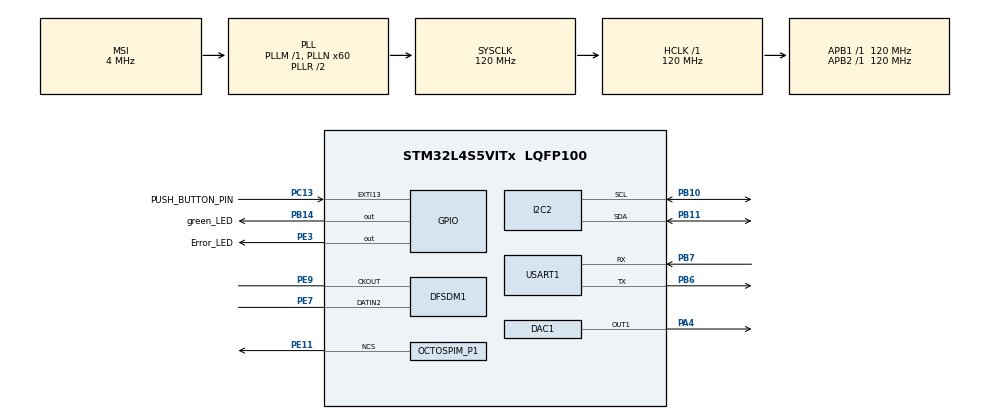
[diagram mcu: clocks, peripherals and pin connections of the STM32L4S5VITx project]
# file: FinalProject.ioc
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DAC1.DAC_Trigger-DAC_OUT1_ExtAndInt=DAC_TRIGGER_T2_TRGO
DFSDM1.Divider=50
DFSDM1.DmaMode_reg_FIL0=ENABLE
DFSDM1.FastMode_reg_FIL0=ENABLE
DFSDM1.Filter_regChannel_FIL0=DFSDM_CHANNEL_2
DFSDM1.Fosr_FIL0=150
DFSDM1.SincOrder_FIL0=DFSDM_FILTER_SINC3_ORDER
Dma.DAC1_CH1.1.Direction=DMA_MEMORY_TO_PERIPH
Dma.DAC1_CH1.1.EventEnable=DISABLE
Dma.DAC1_CH1.1.Instance=DMA1_Channel3
Dma.DAC1_CH1.1.MemDataAlignment=DMA_MDATAALIGN_WORD
Dma.DAC1_CH1.1.MemInc=DMA_MINC_ENABLE
Dma.DAC1_CH1.1.Mode=DMA_CIRCULAR
Dma.DAC1_CH1.1.PeriphDataAlignment=DMA_PDATAALIGN_HALFWORD
Dma.DAC1_CH1.1.PeriphInc=DMA_PINC_DISABLE
Dma.DAC1_CH1.1.Polarity=HAL_DMAMUX_REQUEST_GEN_RISING
Dma.DAC1_CH1.1.Priority=DMA_PRIORITY_MEDIUM
Dma.DAC1_CH1.1.RequestNumber=1
Dma.DAC1_CH1.1.SignalID=NONE
Dma.DAC1_CH1.1.SyncEnable=DISABLE
Dma.DAC1_CH1.1.SyncPolarity=HAL_DMAMUX_SYNC_NO_EVENT
Dma.DAC1_CH1.1.SyncRequestNumber=1
Dma.DAC1_CH1.1.SyncSignalID=NONE
Dma.DFSDM1_FLT0.0.Direction=DMA_PERIPH_TO_MEMORY
Dma.DFSDM1_FLT0.0.EventEnable=DISABLE
Dma.DFSDM1_FLT0.0.Instance=DMA1_Channel2
Dma.DFSDM1_FLT0.0.MemDataAlignment=DMA_MDATAALIGN_WORD
Dma.DFSDM1_FLT0.0.MemInc=DMA_MINC_ENABLE
Dma.DFSDM1_FLT0.0.Mode=DMA_CIRCULAR
Dma.DFSDM1_FLT0.0.PeriphDataAlignment=DMA_PDATAALIGN_WORD
Dma.DFSDM1_FLT0.0.PeriphInc=DMA_PINC_DISABLE
Dma.DFSDM1_FLT0.0.Polarity=HAL_DMAMUX_REQUEST_GEN_RISING
Dma.DFSDM1_FLT0.0.Priority=DMA_PRIORITY_VERY_HIGH
Dma.DFSDM1_FLT0.0.RequestNumber=1
Dma.DFSDM1_FLT0.0.SignalID=NONE
Dma.DFSDM1_FLT0.0.SyncEnable=DISABLE
Dma.DFSDM1_FLT0.0.SyncPolarity=HAL_DMAMUX_SYNC_NO_EVENT
Dma.DFSDM1_FLT0.0.SyncRequestNumber=1
Dma.DFSDM1_FLT0.0.SyncSignalID=NONE
Dma.Request0=DFSDM1_FLT0
Dma.Request1=DAC1_CH1
FREERTOS.Tasks01=audioProcessing,0,512,AudioProcessingTask,Default,NULL,Dynamic,NULL,NULL;alarmTask,0,512,AlarmTask,Default,NULL,Dynamic,NULL,NULL;motionTask,0,256,MotionTask,Default,NULL,Dynamic,NULL,NULL
FREERTOS.configTOTAL_HEAP_SIZE=30000
FREERTOS.configUSE_NEWLIB_REENTRANT=1
I2C2.Timing=0x30A175AB
Mcu.Family=STM32L4
Mcu.Name=STM32L4S5VITx
Mcu.Package=LQFP100
NVIC.DMA1_Channel2_IRQn=true\:5\:0\:false\:false\:true\:true\:false\:true\:true
NVIC.DMA1_Channel3_IRQn=true\:5\:0\:false\:false\:true\:false\:false\:true\:true
NVIC.I2C2_ER_IRQn=true\:5\:0\:false\:false\:true\:true\:true\:true\:true
NVIC.I2C2_EV_IRQn=true\:5\:0\:false\:false\:true\:true\:true\:true\:true
NVIC.PriorityGroup=NVIC_PRIORITYGROUP_4
NVIC.TIM2_IRQn=true\:5\:0\:false\:false\:true\:true\:true\:true\:true
NVIC.TIM6_DAC_IRQn=true\:15\:0\:false\:false\:true\:false\:false\:true\:true
NVIC.TimeBase=TIM6_DAC_IRQn
NVIC.TimeBaseIP=TIM6
PA13\ (JTMS/SWDIO).Signal=SYS_JTMS-SWDIO
PA4.Signal=COMP_DAC11_group
PB10.Mode=I2C
PB10.Signal=I2C2_SCL
PB11.Mode=I2C
PB11.Signal=I2C2_SDA
PB14.GPIO_Label=green_LED
PB14.Signal=GPIO_Output
PB3\ (JTDO/TRACESWO).Signal=SYS_JTDO-SWO
PB6.Mode=Asynchronous
PB6.Signal=USART1_TX
PB7.Mode=Asynchronous
PB7.Signal=USART1_RX
PC13.GPIO_Label=PUSH_BUTTON_PIN
PC13.Signal=GPXTI13
PE10.Signal=OCTOSPIM_P1_CLK
PE11.Mode=OCTOSPI1_Port1_NCS
PE11.Signal=OCTOSPIM_P1_NCS
PE12.Signal=OCTOSPIM_P1_IO0
PE13.Signal=OCTOSPIM_P1_IO1
PE14.Signal=OCTOSPIM_P1_IO2
PE15.Signal=OCTOSPIM_P1_IO3
PE3.GPIO_Label=Error_LED
PE3.Signal=GPIO_Output
PE7.Signal=S_DATAIN2DFSDM1
PE9.Signal=S_CKOUTDFSDM1
ProjectManager.HeapSize=0x200
ProjectManager.StackSize=0x400
ProjectManager.TargetToolchain=STM32CubeIDE
RCC.ADCFreq_Value=48000000
RCC.AHBFreq_Value=120000000
RCC.APB1Freq_Value=120000000
RCC.APB1TimFreq_Value=120000000
RCC.APB2Freq_Value=120000000
RCC.APB2TimFreq_Value=120000000
RCC.CortexFreq_Value=120000000
RCC.HCLKFreq_Value=120000000
RCC.HSE_VALUE=8000000
RCC.HSI48_VALUE=48000000
RCC.HSI_VALUE=16000000
RCC.LSE_VALUE=32768
RCC.MSI_VALUE=4000000
RCC.PLLN=60
RCC.PLLSAI1N=24
RCC.SYSCLKFreq_VALUE=120000000
RCC.SYSCLKSource=RCC_SYSCLKSOURCE_PLLCLK
RCC.USBFreq_Value=48000000
RCC.VCOOutputFreq_Value=240000000
SH.COMP_DAC11_group.0=DAC1_OUT1,DAC_OUT1_ExtAndInt
SH.S_CKOUTDFSDM1.0=DFSDM1_CKOUT,CKOUT
SH.S_CKOUTDFSDM1.1=DFSDM1_CKOUT,PDM_SPI_input_from_ch2_and_internal_clock
SH.S_DATAIN2DFSDM1.0=DFSDM1_DATIN2,PDM_SPI_input_from_ch2_and_internal_clock
TIM2.Period=2999
TIM2.TIM_MasterOutputTrigger=TIM_TRGO_UPDATE
USART1.VirtualMode-Asynchronous=VM_ASYNC
VP_FREERTOS_VS_CMSIS_V1.Mode=CMSIS_V1
VP_OCTOSPI1_VS_quad.Mode=quad_mode
VP_RTC_VS_RTC_Activate.Mode=RTC_Enabled
VP_RTC_VS_RTC_WakeUp_intern.Mode=WakeUp
VP_SYS_VS_tim6.Mode=TIM6
VP_TIM2_VS_ClockSourceINT.Mode=Internal
board=B-L4S5I-IOT01A

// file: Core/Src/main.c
/* USER CODE BEGIN Header */
/**
  ******************************************************************************
  * @file           : main.c
  * @brief          : Main program body
  ******************************************************************************
  * @attention
  *
  * Copyright (c) 2025 STMicroelectronics.
  * All rights reserved.
  *
  * This software is licensed under terms that can be found in the LICENSE file
  * in the root directory of this software component.
  * If no LICENSE file comes with this software, it is provided AS-IS.
  *
  ******************************************************************************
  */
/* USER CODE END Header */
#include "main.h"
#include "cmsis_os.h"
#include "dac.h"
#include "dfsdm.h"
#include "dma.h"
#include "i2c.h"
#include "octospi.h"
#include "rtc.h"
#include "tim.h"
#include "usart.h"
#include "gpio.h"

/* USER CODE BEGIN Includes */
#include "stm32l4s5i_iot01_accelero.h"
#include "stm32l4s5i_iot01_qspi.h"
#include "stm32l4s5i_iot01.h"
#include "stm32l4xx_hal_conf.h"
#include "stm32l4xx_it.h"
#include "FreeRTOS.h"
#include "task.h"
#include "semphr.h"
#include <stdbool.h>
#include <stdio.h>
#include <string.h>
/* USER CODE END Includes */

void SystemClock_Config(void);
void MX_FREERTOS_Init(void);

int main(void)
{

  /* MCU Configuration--------------------------------------------------------*/

  /* Reset of all peripherals, Initializes the Flash interface and the Systick. */
  HAL_Init();

  /* Configure the system clock */
  SystemClock_Config();

  /* Initialize all configured peripherals */
  MX_GPIO_Init();
  MX_DMA_Init();
  MX_DFSDM1_Init();
  MX_I2C2_Init();
  MX_DAC1_Init();
  MX_TIM2_Init();
  MX_USART1_UART_Init();
  MX_OCTOSPI1_Init();
  MX_RTC_Init();

  /* Call init function for freertos objects (in cmsis_os2.c) */
  MX_FREERTOS_Init();

  /* Start scheduler */
  osKernelStart();

  /* We should never get here as control is now taken by the scheduler */

  /* Infinite loop */
  while (1)
  {

  }
}

void SystemClock_Config(void)
{
  RCC_OscInitTypeDef RCC_OscInitStruct = {0};
  RCC_ClkInitTypeDef RCC_ClkInitStruct = {0};

  /** Configure the main internal regulator output voltage
  */
  if (HAL_PWREx_ControlVoltageScaling(PWR_REGULATOR_VOLTAGE_SCALE1_BOOST) != HAL_OK)
  {
    Error_Handler();
  }

  /** Initializes the RCC Oscillators according to the specified parameters
  * in the RCC_OscInitTypeDef structure.
  */
  RCC_OscInitStruct.OscillatorType = RCC_OSCILLATORTYPE_LSI|RCC_OSCILLATORTYPE_MSI;
  RCC_OscInitStruct.LSIState = RCC_LSI_ON;
  RCC_OscInitStruct.MSIState = RCC_MSI_ON;
  RCC_OscInitStruct.MSICalibrationValue = 0;
  RCC_OscInitStruct.MSIClockRange = RCC_MSIRANGE_6;
  RCC_OscInitStruct.PLL.PLLState = RCC_PLL_ON;
  RCC_OscInitStruct.PLL.PLLSource = RCC_PLLSOURCE_MSI;
  RCC_OscInitStruct.PLL.PLLM = 1;
  RCC_OscInitStruct.PLL.PLLN = 60;
  RCC_OscInitStruct.PLL.PLLP = RCC_PLLP_DIV2;
  RCC_OscInitStruct.PLL.PLLQ = RCC_PLLQ_DIV2;
  RCC_OscInitStruct.PLL.PLLR = RCC_PLLR_DIV2;
  if (HAL_RCC_OscConfig(&RCC_OscInitStruct) != HAL_OK)
  {
    Error_Handler();
  }

  /** Initializes the CPU, AHB and APB buses clocks
  */
  RCC_ClkInitStruct.ClockType = RCC_CLOCKTYPE_HCLK|RCC_CLOCKTYPE_SYSCLK
                              |RCC_CLOCKTYPE_PCLK1|RCC_CLOCKTYPE_PCLK2;
  RCC_ClkInitStruct.SYSCLKSource = RCC_SYSCLKSOURCE_PLLCLK;
  RCC_ClkInitStruct.AHBCLKDivider = RCC_SYSCLK_DIV1;
  RCC_ClkInitStruct.APB1CLKDivider = RCC_HCLK_DIV1;
  RCC_ClkInitStruct.APB2CLKDivider = RCC_HCLK_DIV1;

  if (HAL_RCC_ClockConfig(&RCC_ClkInitStruct, FLASH_LATENCY_5) != HAL_OK)
  {
    Error_Handler();
  }
}

void HAL_TIM_PeriodElapsedCallback(TIM_HandleTypeDef *htim)
{
  if (htim->Instance == TIM6)
  {
    HAL_IncTick();
  }
}

void Error_Handler(void)
{
  __disable_irq();
  while (1)
  {
  }
}

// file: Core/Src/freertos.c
/* USER CODE BEGIN Header */
/* USER CODE END Header */

#include "FreeRTOS.h"
#include "task.h"
#include "main.h"
#include "cmsis_os.h"

/* USER CODE BEGIN Includes */
#define ARM_MATH_CM4
#include "dac.h"
#include "dfsdm.h"
#include "dma.h"
#include "i2c.h"
#include "octospi.h"
#include "rtc.h"
#include "tim.h"
#include "usart.h"
#include "gpio.h"
#include "stm32l4s5i_iot01_accelero.h"
#include "arm_math.h"
#include <stdbool.h>
#include <string.h>
#include <stdlib.h>
#include <stdarg.h>
#include <stdio.h>
#include <math.h>
/* USER CODE END Includes */

/* USER CODE BEGIN PTD */
typedef enum
{
  ALARM_EVENT_AUDIO = 0x01U,
  ALARM_EVENT_MOTION = 0x02U
} AlarmEventSource_t;

typedef struct
{
  AlarmEventSource_t source;
  uint32_t magnitude;
} AlarmEvent_t;
/* USER CODE END PTD */

/* USER CODE BEGIN PD */
#define AUDIO_FRAME_SIZE                    128U
#define AUDIO_DMA_BUFFER_SIZE               (AUDIO_FRAME_SIZE * 2U)
#define AUDIO_BUFFER_HALF_FLAG              (1UL << 0)
#define AUDIO_BUFFER_FULL_FLAG              (1UL << 1)
#define AUDIO_SAMPLE_SHIFT                  8U
#define ALARM_EVENT_QUEUE_LENGTH            4U
#define AUDIO_RETRIGGER_MS                  500U
#define AUDIO_SENSOR_STABILIZATION_MS       1500U
#define AUDIO_CALIBRATION_FRAMES            20U

#define ALARM_WAVEFORM_SAMPLES             10U
#define DAC_MAX                            4095U // 12-bit DAC
#define DAC_CENTER                         (DAC_MAX / 2U)
#define AMP                                (DAC_MAX / 2U) // Amplitude of the alarm waveform
#define MOTION_SAMPLE_PERIOD_MS            50U
#define MOTION_THRESHOLD                   4000U
/* USER CODE END PD */

/* USER CODE BEGIN Variables */
static StaticTask_t xIdleTaskTCBBuffer;
static StackType_t xIdleStack[configMINIMAL_STACK_SIZE];

static TaskHandle_t audioProcessingTaskNativeHandle = NULL;

static QueueHandle_t alarmEventQueue;
static StaticQueue_t alarmEventQueueStruct;
static uint8_t alarmEventQueueStorage[ALARM_EVENT_QUEUE_LENGTH * sizeof(AlarmEvent_t)];

static volatile uint32_t s_audioReadyMask = 0U;
static int32_t s_audioDmaBuffer[AUDIO_DMA_BUFFER_SIZE];
static uint16_t s_alarmWaveform[ALARM_WAVEFORM_SAMPLES];
static TickType_t s_lastAudioAlarmTick = 0;
static volatile bool s_alarmOutputActive = false;
static uint32_t s_audioThreshold = 20000;
static bool s_audioCalibrationDone = false;
static uint64_t s_audioCalibrationAccum = 0;
static uint32_t s_audioCalibrationCount = 0;
// static TickType_t s_audioStabilizeUntil = 0;

/* USER CODE END Variables */
osThreadId audioProcessingHandle;
osThreadId alarmTaskHandle;
osThreadId motionTaskHandle;

/* USER CODE BEGIN FunctionPrototypes */
static void DispatchAlarmEvent(AlarmEventSource_t source, uint32_t magnitude);
static void AnalyzeAudioFrame(const int32_t *frame, size_t length);
static uint32_t CalculateFrameEnergy(const int32_t *frame, size_t length);
static void InitAlarmWaveform(void);
static HAL_StatusTypeDef StartAlarmOutput(void);
static void StopAlarmOutput(void);
static void DebugPrint(const char *format, ...);
void vApplicationIdleHook(void);

static uint32_t frameEnergy = 0;
static size_t audio_called_n = 0;

void vApplicationStackOverflowHook(TaskHandle_t xTask, char *pcTaskName)
{
    DebugPrint("Stack OVerflow");// Handle overflow
}
/* USER CODE END FunctionPrototypes */

void AudioProcessingTask(void const * argument);
void AlarmTask(void const * argument);
void MotionTask(void const * argument);

void MX_FREERTOS_Init(void); /* (MISRA C 2004 rule 8.1) */

/* GetIdleTaskMemory prototype (linked to static allocation support) */
void vApplicationGetIdleTaskMemory( StaticTask_t **ppxIdleTaskTCBBuffer, StackType_t **ppxIdleTaskStackBuffer, uint32_t *pulIdleTaskStackSize );

/* USER CODE BEGIN GET_IDLE_TASK_MEMORY */
void vApplicationGetIdleTaskMemory( StaticTask_t **ppxIdleTaskTCBBuffer, StackType_t **ppxIdleTaskStackBuffer, uint32_t *pulIdleTaskStackSize )
{
  *ppxIdleTaskTCBBuffer = &xIdleTaskTCBBuffer;
  *ppxIdleTaskStackBuffer = &xIdleStack[0];
  *pulIdleTaskStackSize = configMINIMAL_STACK_SIZE;
}
/* USER CODE END GET_IDLE_TASK_MEMORY */

void MX_FREERTOS_Init(void) {
  /* USER CODE BEGIN Init */
	DebugPrint("OS Init\r\n");
  alarmEventQueue = xQueueCreateStatic(ALARM_EVENT_QUEUE_LENGTH,
                                       sizeof(AlarmEvent_t),
                                       alarmEventQueueStorage,
                                       &alarmEventQueueStruct);
  configASSERT(alarmEventQueue != NULL);
  InitAlarmWaveform();
  HAL_GPIO_WritePin(green_LED_GPIO_Port, green_LED_Pin, GPIO_PIN_SET);
  HAL_GPIO_WritePin(Error_LED_GPIO_Port, Error_LED_Pin, GPIO_PIN_SET);
  /* USER CODE END Init */

  /* Create the thread(s) */
  /* definition and creation of audioProcessing */
  osThreadDef(audioProcessing, AudioProcessingTask, osPriorityNormal, 0, 512);
  audioProcessingHandle = osThreadCreate(osThread(audioProcessing), NULL);

  /* definition and creation of alarmTask */
  osThreadDef(alarmTask, AlarmTask, osPriorityNormal, 0, 512);
  alarmTaskHandle = osThreadCreate(osThread(alarmTask), NULL);

  /* definition and creation of motionTask */
  osThreadDef(motionTask, MotionTask, osPriorityNormal, 0, 256);
  motionTaskHandle = osThreadCreate(osThread(motionTask), NULL);

}

void AudioProcessingTask(void const * argument)
{
  /* USER CODE BEGIN AudioProcessingTask */
  DebugPrint("AudioProcessingTask begins\r\n");
  audio_called_n ++;
  (void)(argument);

  audioProcessingTaskNativeHandle = xTaskGetCurrentTaskHandle();
  s_audioCalibrationDone = false;
  s_audioCalibrationAccum = 0;
  s_audioCalibrationCount = 0;
  memset(s_audioDmaBuffer, 0, sizeof(s_audioDmaBuffer));

  if (HAL_DFSDM_FilterRegularStart_DMA(&hdfsdm1_filter0,
                                       s_audioDmaBuffer,
                                       AUDIO_DMA_BUFFER_SIZE) != HAL_OK)
  {
    Error_Handler();
  }
  // s_audioStabilizeUntil = xTaskGetTickCount() + pdMS_TO_TICKS(AUDIO_SENSOR_STABILIZATION_MS);
//  frameEnergy = CalculateFrameEnergy(&s_audioDmaBuffer[0], AUDIO_FRAME_SIZE);
//  frameEnergy = CalculateFrameEnergy(&s_audioDmaBuffer[AUDIO_FRAME_SIZE], AUDIO_FRAME_SIZE);
//  memset(s_audioDmaBuffer, 0, sizeof(s_audioDmaBuffer));
  osDelay(AUDIO_SENSOR_STABILIZATION_MS);

  DebugPrint("AudioProcessingTask ready\r\n");

  for (;;)
  {
	  audio_called_n++;
    ulTaskNotifyTake(pdTRUE, portMAX_DELAY);

    uint32_t readyMask;
    taskENTER_CRITICAL();
    readyMask = s_audioReadyMask;
    s_audioReadyMask = 0U;
    taskEXIT_CRITICAL();

    if ((readyMask & AUDIO_BUFFER_HALF_FLAG) != 0U)
    {
      AnalyzeAudioFrame(&s_audioDmaBuffer[0], AUDIO_FRAME_SIZE);
    }
    if ((readyMask & AUDIO_BUFFER_FULL_FLAG) != 0U)
    {
      AnalyzeAudioFrame(&s_audioDmaBuffer[AUDIO_FRAME_SIZE], AUDIO_FRAME_SIZE);
    }
  }
  /* USER CODE END AudioProcessingTask */
}

void AlarmTask(void const * argument)
{
  /* USER CODE BEGIN AlarmTask */
  (void)(argument);

  AlarmEvent_t evt;
  bool alarmRunning = false;
  DebugPrint("=========AlarmTask started========\r\n");

  for (;;)
  {
    DebugPrint("AlarmTask received evt src=%u mag=%lu\r\n", evt.source, evt.magnitude);
    if (xQueueReceive(alarmEventQueue, &evt, portMAX_DELAY) == pdPASS)
    {

      if (!alarmRunning)
      {
        HAL_StatusTypeDef startStatus = StartAlarmOutput();
        if (startStatus == HAL_OK)
        {
          alarmRunning = true;
          DebugPrint("Alarm started\r\n");
        }
        else
        {
          DebugPrint("Alarm start failed (%ld)\r\n", (long)startStatus);
        }
      }
    }
  }
  /* USER CODE END AlarmTask */
}

void MotionTask(void const * argument)
{
  /* USER CODE BEGIN MotionTask */
  (void)argument;
  DebugPrint("MotionTask started\r\n");

  if (BSP_ACCELERO_Init() != ACCELERO_OK)
  {
    DebugPrint("Accel init failed\r\n");
    vTaskDelete(NULL);
  }

  BSP_ACCELERO_LowPower(0);

  int16_t prev[3] = {0};
  int16_t current[3] = {0};
  BSP_ACCELERO_AccGetXYZ(prev);

  for (;;)
  {
    vTaskDelay(pdMS_TO_TICKS(MOTION_SAMPLE_PERIOD_MS));

    BSP_ACCELERO_AccGetXYZ(current);

    int32_t diffX = (int32_t)current[0] - (int32_t)prev[0];
    int32_t diffY = (int32_t)current[1] - (int32_t)prev[1];
    int32_t diffZ = (int32_t)current[2] - (int32_t)prev[2];

    uint32_t magnitude = (uint32_t)(diffX * diffX + diffY * diffY + diffZ * diffZ);
    if (magnitude > MOTION_THRESHOLD)
    {
      DebugPrint("Motion alarm: %lu\r\n", magnitude);
      DispatchAlarmEvent(ALARM_EVENT_MOTION, magnitude);
    }

    prev[0] = current[0];
    prev[1] = current[1];
    prev[2] = current[2];
  }
  /* USER CODE END MotionTask */
}

/* USER CODE BEGIN Application */

static void DispatchAlarmEvent(AlarmEventSource_t source, uint32_t magnitude)
{
  if (alarmEventQueue == NULL)
  {
    return;
  }

  AlarmEvent_t evt =
  {
    .source = source,
    .magnitude = magnitude
  };

  if (xQueueSend(alarmEventQueue, &evt, pdMS_TO_TICKS(50)) != pdPASS)
  {
    DebugPrint("Alarm queue full (src=%u mag=%lu)\r\n", source, magnitude);
  }
//  DebugPrint("Dispatch Alarm!!!\r\n");
}

static void AnalyzeAudioFrame(const int32_t *frame, size_t length)
{
  if ((frame == NULL) || (length == 0U))
  {
    return;
  }

  // if ((int32_t)(xTaskGetTickCount() - s_audioStabilizeUntil) < 0)
  // {
  //   /* Discard frames during DFSDM stabilization window */
  //   return;
  // }

  frameEnergy = CalculateFrameEnergy(frame, length);

  if (!s_audioCalibrationDone)
  {
    s_audioCalibrationAccum += frameEnergy;
    s_audioCalibrationCount++;
    if (s_audioCalibrationCount >= AUDIO_CALIBRATION_FRAMES)
    {
      uint32_t base = (uint32_t)(s_audioCalibrationAccum / s_audioCalibrationCount);
      s_audioThreshold = base + (base >> 1); /* add 50% headroom */
      s_audioCalibrationDone = true;
      DebugPrint("Audio calibration done (base: %lu thr: %lu)\r\n", base, s_audioThreshold);
    }
    return;
  }

  if (frameEnergy > s_audioThreshold)
  {
    DebugPrint("{\r\n");
    // DebugPrint("	audio_called_n: %ld\r\n", audio_called_n);
    DebugPrint("	frameEnergy: %ld\r\n", frameEnergy);
    DebugPrint("	audioThreshold: %ld\r\n", s_audioThreshold);
    DebugPrint("}\r\n");
    TickType_t now = xTaskGetTickCount();
    if ((int32_t)(now - s_lastAudioAlarmTick) >= (int32_t)pdMS_TO_TICKS(AUDIO_RETRIGGER_MS))
    {
      s_lastAudioAlarmTick = now;
      DispatchAlarmEvent(ALARM_EVENT_AUDIO, (uint32_t)frameEnergy);
    }
  }
  else
  {
//    DebugPrint("Quiet...frame energy is: %u\r\n", (unsigned int)frameEnergy);
  }
}

static void InitAlarmWaveform(void)
{
  for (uint32_t i = 0; i < ALARM_WAVEFORM_SAMPLES; ++i)
  {
    float angle = (2.0f * (float)PI * (float)i) / (float)ALARM_WAVEFORM_SAMPLES;
    float s = sinf(angle);
    int32_t y = (int32_t)DAC_CENTER + (int32_t)((float)AMP * s);
    if (y < 0) y = 0;
    if (y > (int32_t)DAC_MAX) y = DAC_MAX;
    s_alarmWaveform[i] = (uint16_t)y;
  }
}

static uint32_t CalculateFrameEnergy(const int32_t *frame, size_t length)
{
  if (length == 0U)
  {
    return 0;
  }

//  if (audio_called_n == 64) {
//	  ;
//  }

  uint32_t acc = 0;
  for (size_t i = 0; i < length; ++i)
  {
      int32_t raw = frame[i] >> AUDIO_SAMPLE_SHIFT; // still signed
      if (raw > 10000000) {
    	  DebugPrint("abnormal sound, raw = %ld\r\n", raw);

      }
      if (raw < 0) raw = -raw;   // take magnitude

      acc += (uint32_t)raw;      // safe: now always positive
  }

  acc /= (uint32_t)length;
  return acc;
}

static HAL_StatusTypeDef StartAlarmOutput(void)
{
  HAL_StatusTypeDef status = HAL_DAC_Start_DMA(&hdac1,
                                               DAC_CHANNEL_1,
                                               (uint32_t *)s_alarmWaveform,
                                               ALARM_WAVEFORM_SAMPLES,
                                               DAC_ALIGN_12B_R);
  if (status != HAL_OK)
  {
    return status;
  }

  status = HAL_TIM_Base_Start(&htim2);
  if (status != HAL_OK)
  {
    HAL_DAC_Stop_DMA(&hdac1, DAC_CHANNEL_1);
    return status;
  }

  HAL_GPIO_WritePin(Error_LED_GPIO_Port, Error_LED_Pin, GPIO_PIN_RESET);
  HAL_GPIO_WritePin(green_LED_GPIO_Port, green_LED_Pin, GPIO_PIN_RESET);
  s_alarmOutputActive = true;
  return HAL_OK;
}

static void StopAlarmOutput(void)
{
  HAL_TIM_Base_Stop(&htim2);
  HAL_DAC_Stop_DMA(&hdac1, DAC_CHANNEL_1);
  HAL_GPIO_WritePin(Error_LED_GPIO_Port, Error_LED_Pin, GPIO_PIN_SET);
  HAL_GPIO_WritePin(green_LED_GPIO_Port, green_LED_Pin, GPIO_PIN_SET);
  s_alarmOutputActive = false;
}

static void DebugPrint(const char *format, ...)
{
  if (huart1.gState == HAL_UART_STATE_RESET)
  {
    return;
  }

  char buffer[128];
  va_list args;
  va_start(args, format);
  int len = vsnprintf(buffer, sizeof(buffer), format, args);
  va_end(args);

  if (len <= 0)
  {
    return;
  }

  if (len > (int)sizeof(buffer))
  {
    len = sizeof(buffer);
  }

  HAL_UART_Transmit(&huart1, (uint8_t *)buffer, (uint16_t)len, HAL_MAX_DELAY);
}

void HAL_DFSDM_FilterRegConvHalfCpltCallback(DFSDM_Filter_HandleTypeDef *hdfsdm_filter)
{
  if (hdfsdm_filter != &hdfsdm1_filter0)
  {
    return;
  }

  BaseType_t higherPriorityTaskWoken = pdFALSE;
  s_audioReadyMask |= AUDIO_BUFFER_HALF_FLAG;

  TaskHandle_t targetHandle = audioProcessingTaskNativeHandle;
  if ((targetHandle == NULL) && (audioProcessingHandle != NULL))
  {
    targetHandle = (TaskHandle_t)audioProcessingHandle;
  }

  if (targetHandle != NULL)
  {
    vTaskNotifyGiveFromISR(targetHandle, &higherPriorityTaskWoken);
    portYIELD_FROM_ISR(higherPriorityTaskWoken);
  }
  else
  {
    DebugPrint("DFSDM half callback w/o task handle\r\n");
  }
}

void HAL_DFSDM_FilterRegConvCpltCallback(DFSDM_Filter_HandleTypeDef *hdfsdm_filter)
{
  if (hdfsdm_filter != &hdfsdm1_filter0)
  {
    return;
  }

  BaseType_t higherPriorityTaskWoken = pdFALSE;
  s_audioReadyMask |= AUDIO_BUFFER_FULL_FLAG;

  TaskHandle_t targetHandle = audioProcessingTaskNativeHandle;
  if ((targetHandle == NULL) && (audioProcessingHandle != NULL))
  {
    targetHandle = (TaskHandle_t)audioProcessingHandle;
  }

  if (targetHandle != NULL)
  {
    vTaskNotifyGiveFromISR(targetHandle, &higherPriorityTaskWoken);
    portYIELD_FROM_ISR(higherPriorityTaskWoken);
  }
  else
  {
    DebugPrint("DFSDM full callback w/o task handle\r\n");
  }
}

void HAL_GPIO_EXTI_Callback(uint16_t GPIO_Pin)
{
  (void)GPIO_Pin;
}

void vApplicationIdleHook(void)
{
  /* Enter SLEEP when alarm output is idle; DFSDM/DMA and accel IRQs will wake us */
  if (s_alarmOutputActive)
  {
    return;
  }

  HAL_SuspendTick();
  HAL_PWR_EnterSLEEPMode(PWR_MAINREGULATOR_ON, PWR_SLEEPENTRY_WFI);
  HAL_ResumeTick();
}
/* USER CODE END Application */
